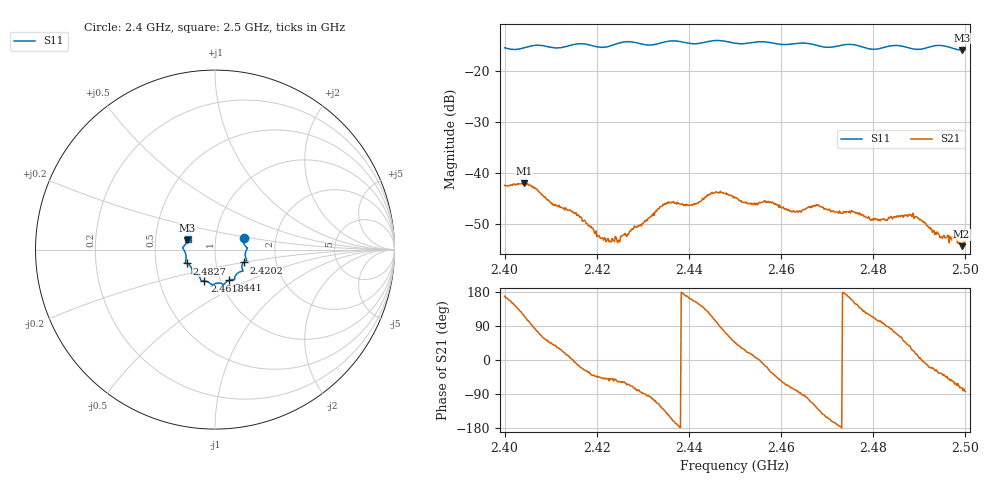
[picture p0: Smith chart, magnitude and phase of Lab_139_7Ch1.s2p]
# Hz S RI R 50
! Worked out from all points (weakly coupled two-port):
!   601 points, 2.4 GHz to 2.5 GHz, reference 50 ohm
!   highest |S21| = -41.99 dB at 2.4042 GHz (marker M1); lowest = -54.4 dB at 2.4992 GHz (marker M2)
!   lowest |S11| = -15.8 dB at 2.4993 GHz (marker M3), VSWR 1.39, Z = 36.5 + j3.81 ohm
!   |S11| at or under -10 dB: start of sweep to end of sweep
!   S12 and S22 are empty: the file has one direction only
!   S11 on the Smith chart (normalised r, x): 2.4 GHz: 1.36, +0.18; 2.4202 GHz: 1.36, -0.20; 2.441 GHz: 1.10, -0.39; 2.4618 GHz: 0.84, -0.30; 2.4827 GHz: 0.72, -0.11; 2.5 GHz: 0.73, +0.09
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2.4e9  0.1588 0.0627  -0.00742 0.00152  0 0  0 0
2.404167e9  0.1698 0.0186  -0.00371 0.00703  0 0  0 0
2.416667e9  0.1772 -0.0608  0.00343 -0.0013  0 0  0 0
2.420167e9  0.1588 -0.0714  0.0018 -0.00166  0 0  0 0
2.4225e9  0.1497 -0.0924  0.00151 -0.00171  0 0  0 0
2.424833e9  0.1539 -0.1125  0.0012 -0.00178  0 0  0 0
2.433333e9  0.1117 -0.1507  -0.00187 -0.00406  0 0  0 0
2.436e9  0.1091 -0.1669  -0.00455 -0.00243  0 0  0 0
2.441e9  0.0788 -0.1698  -0.00449 0.00203  0 0  0 0
2.445333e9  0.0513 -0.1941  -0.002 0.006  0 0  0 0
2.45e9  0.0286 -0.1875  0.004 0.00405  0 0  0 0
2.453333e9  -0.00305 -0.191  0.00485 0.00143  0 0  0 0
2.457667e9  -0.0231 -0.1906  0.00446 -0.00274  0 0  0 0
2.461833e9  -0.0592 -0.1756  0.00144 -0.00398  0 0  0 0
2.466667e9  -0.0787 -0.1682  -0.00175 -0.00424  0 0  0 0
2.482667e9  -0.156 -0.077  -0.000109 0.00345  0 0  0 0
2.483333e9  -0.1603 -0.075  0.000219 0.00368  0 0  0 0
2.488167e9  -0.1613 -0.048  0.00334 0.00202  0 0  0 0
2.494667e9  -0.1797 0.0116  0.00192 -0.00135  0 0  0 0
2.499167e9  -0.1553 0.0485  0.000562 -0.00183  0 0  0 0
2.499333e9  -0.1543 0.0509  0.000542 -0.00196  0 0  0 0
2.5e9  -0.1524 0.0604  0.000236 -0.00197  0 0  0 0
